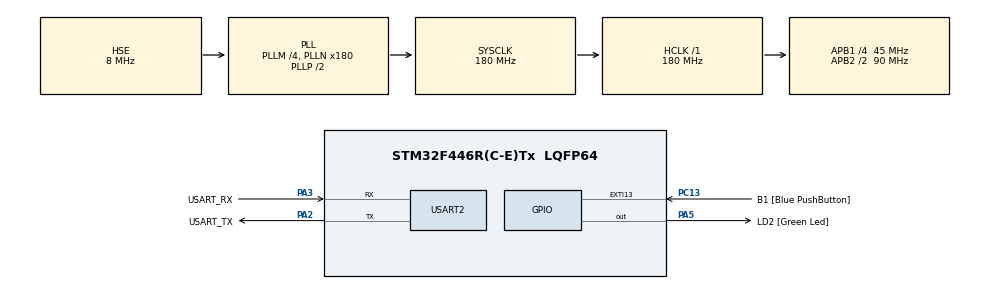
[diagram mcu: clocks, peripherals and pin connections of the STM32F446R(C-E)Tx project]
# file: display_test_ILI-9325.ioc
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Mcu.Family=STM32F4
Mcu.Name=STM32F446R(C-E)Tx
Mcu.Package=LQFP64
NVIC.PriorityGroup=NVIC_PRIORITYGROUP_0
PA13.GPIO_Label=TMS
PA13.Mode=Serial_Wire
PA13.Signal=SYS_JTMS-SWDIO
PA14.GPIO_Label=TCK
PA14.Mode=Serial_Wire
PA14.Signal=SYS_JTCK-SWCLK
PA2.GPIO_Label=USART_TX
PA2.Mode=Asynchronous
PA2.Signal=USART2_TX
PA3.GPIO_Label=USART_RX
PA3.Mode=Asynchronous
PA3.Signal=USART2_RX
PA5.GPIO_Label=LD2 [Green Led]
PA5.Signal=GPIO_Output
PB3.GPIO_Label=SWO
PB3.Signal=SYS_JTDO-SWO
PC13.GPIO_Label=B1 [Blue PushButton]
PC13.GPIO_ModeDefaultEXTI=GPIO_MODE_IT_FALLING
PC13.Signal=GPXTI13
PC14-OSC32_IN.Mode=LSE-External-Oscillator
PC14-OSC32_IN.Signal=RCC_OSC32_IN
PC15-OSC32_OUT.Mode=LSE-External-Oscillator
PC15-OSC32_OUT.Signal=RCC_OSC32_OUT
PH0-OSC_IN.Mode=HSE-External-Clock-Source
PH0-OSC_IN.Signal=RCC_OSC_IN
PH1-OSC_OUT.Mode=HSE-External-Clock-Source
PH1-OSC_OUT.Signal=RCC_OSC_OUT
ProjectManager.HeapSize=0x200
ProjectManager.StackSize=0x400
ProjectManager.TargetToolchain=SW4STM32
RCC.48MHZClocksFreq_Value=84000000
RCC.AHBFreq_Value=180000000
RCC.APB1CLKDivider=RCC_HCLK_DIV4
RCC.APB1Freq_Value=45000000
RCC.APB1TimFreq_Value=90000000
RCC.APB2CLKDivider=RCC_HCLK_DIV2
RCC.APB2Freq_Value=90000000
RCC.APB2TimFreq_Value=180000000
RCC.CortexFreq_Value=180000000
RCC.FLatency-AdvancedSettings=FLASH_LATENCY_5
RCC.HCLKFreq_Value=180000000
RCC.HSE_VALUE=8000000
RCC.HSI_VALUE=16000000
RCC.PLLM=4
RCC.PLLN=180
RCC.PLLSourceVirtual=RCC_PLLSOURCE_HSE
RCC.SYSCLKFreq_VALUE=180000000
RCC.SYSCLKSource=RCC_SYSCLKSOURCE_PLLCLK
RCC.USBFreq_Value=180000000
RCC.VCOOutputFreq_Value=360000000
USART2.VirtualMode=VM_ASYNC
board=NUCLEO-F446RE

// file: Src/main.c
/**
  ******************************************************************************
  * @file           : main.c
  * @brief          : Main program body
  ******************************************************************************
  ** This notice applies to any and all portions of this file
  * that are not between comment pairs USER CODE BEGIN and
  * USER CODE END. Other portions of this file, whether
  * inserted by the user or by software development tools
  * are owned by their respective copyright owners.
  *
  * COPYRIGHT(c) 2019 STMicroelectronics
  *
  * Redistribution and use in source and binary forms, with or without modification,
  * are permitted provided that the following conditions are met:
  *   1. Redistributions of source code must retain the above copyright notice,
  *      this list of conditions and the following disclaimer.
  *   2. Redistributions in binary form must reproduce the above copyright notice,
  *      this list of conditions and the following disclaimer in the documentation
  *      and/or other materials provided with the distribution.
  *   3. Neither the name of STMicroelectronics nor the names of its contributors
  *      may be used to endorse or promote products derived from this software
  *      without specific prior written permission.
  *
  * THIS SOFTWARE IS PROVIDED BY THE COPYRIGHT HOLDERS AND CONTRIBUTORS "AS IS"
  * AND ANY EXPRESS OR IMPLIED WARRANTIES, INCLUDING, BUT NOT LIMITED TO, THE
  * IMPLIED WARRANTIES OF MERCHANTABILITY AND FITNESS FOR A PARTICULAR PURPOSE ARE
  * DISCLAIMED. IN NO EVENT SHALL THE COPYRIGHT HOLDER OR CONTRIBUTORS BE LIABLE
  * FOR ANY DIRECT, INDIRECT, INCIDENTAL, SPECIAL, EXEMPLARY, OR CONSEQUENTIAL
  * DAMAGES (INCLUDING, BUT NOT LIMITED TO, PROCUREMENT OF SUBSTITUTE GOODS OR
  * SERVICES; LOSS OF USE, DATA, OR PROFITS; OR BUSINESS INTERRUPTION) HOWEVER
  * CAUSED AND ON ANY THEORY OF LIABILITY, WHETHER IN CONTRACT, STRICT LIABILITY,
  * OR TORT (INCLUDING NEGLIGENCE OR OTHERWISE) ARISING IN ANY WAY OUT OF THE USE
  * OF THIS SOFTWARE, EVEN IF ADVISED OF THE POSSIBILITY OF SUCH DAMAGE.
  *
  ******************************************************************************
  */
#include "main.h"
#include "stm32f4xx_hal.h"
#include "usart.h"
#include "gpio.h"

/* USER CODE BEGIN Includes */
#include "lcd.h"
/* USER CODE END Includes */

/* USER CODE BEGIN PV */
/* Private variables ---------------------------------------------------------*/

/* USER CODE END PV */

void SystemClock_Config(void);

/* USER CODE BEGIN PFP */
/* Private function prototypes -----------------------------------------------*/

/* USER CODE END PFP */

int main(void)
{

  /* MCU Configuration----------------------------------------------------------*/

  /* Reset of all peripherals, Initializes the Flash interface and the Systick. */
  HAL_Init();

  /* Configure the system clock */
  SystemClock_Config();

  /* Initialize all configured peripherals */
  MX_GPIO_Init();
  MX_USART2_UART_Init();
  /* USER CODE BEGIN 2 */

	LCD_Init();
	LCD_SetRotation(1);
	LCD_FillScreen(WHITE);
	// LCD_SetTextColor(GREEN, BLACK);
	LCD_SetTextColor(CYAN, WHITE);

	LCD_Printf("\n START\n ");
	uint32_t i = 0;

  /* USER CODE END 2 */

  /* Infinite loop */
  /* USER CODE BEGIN WHILE */
  while (1)
  {
	i++;
	LCD_Printf("%d)",i);
	//LCD_SetCursor(0, 80);
	switch(i%7)
	{
		case  7: LCD_Printf(" Sunday "); 		break;
		case  1: LCD_Printf(" Monday ");		break;
		case  2: LCD_Printf(" Tuesday "); 		break;
		case  3: LCD_Printf(" Wednesday ");		break;
		case  4: LCD_Printf(" Thursday ");		break;
		case  5: LCD_Printf(" Friday ");		break;
		case  6: LCD_Printf(" Saturday ");		break;
		default: LCD_Printf(" Out of day ");	break;
	} // end switch

	LCD_Printf("\n ");
	HAL_Delay(1000);
	HAL_GPIO_TogglePin(LD2_GPIO_Port, LD2_Pin);
	//LCD_Printf("\n End\n");

  /* USER CODE END WHILE */

  }

}

void SystemClock_Config(void)
{

  RCC_OscInitTypeDef RCC_OscInitStruct;
  RCC_ClkInitTypeDef RCC_ClkInitStruct;

    /**Configure the main internal regulator output voltage
    */
  __HAL_RCC_PWR_CLK_ENABLE();

  __HAL_PWR_VOLTAGESCALING_CONFIG(PWR_REGULATOR_VOLTAGE_SCALE1);

    /**Initializes the CPU, AHB and APB busses clocks
    */
  RCC_OscInitStruct.OscillatorType = RCC_OSCILLATORTYPE_HSE;
  RCC_OscInitStruct.HSEState = RCC_HSE_BYPASS;
  RCC_OscInitStruct.PLL.PLLState = RCC_PLL_ON;
  RCC_OscInitStruct.PLL.PLLSource = RCC_PLLSOURCE_HSE;
  RCC_OscInitStruct.PLL.PLLM = 4;
  RCC_OscInitStruct.PLL.PLLN = 180;
  RCC_OscInitStruct.PLL.PLLP = RCC_PLLP_DIV2;
  RCC_OscInitStruct.PLL.PLLQ = 2;
  RCC_OscInitStruct.PLL.PLLR = 2;
  if (HAL_RCC_OscConfig(&RCC_OscInitStruct) != HAL_OK)
  {
    _Error_Handler(__FILE__, __LINE__);
  }

    /**Activate the Over-Drive mode
    */
  if (HAL_PWREx_EnableOverDrive() != HAL_OK)
  {
    _Error_Handler(__FILE__, __LINE__);
  }

    /**Initializes the CPU, AHB and APB busses clocks
    */
  RCC_ClkInitStruct.ClockType = RCC_CLOCKTYPE_HCLK|RCC_CLOCKTYPE_SYSCLK
                              |RCC_CLOCKTYPE_PCLK1|RCC_CLOCKTYPE_PCLK2;
  RCC_ClkInitStruct.SYSCLKSource = RCC_SYSCLKSOURCE_PLLCLK;
  RCC_ClkInitStruct.AHBCLKDivider = RCC_SYSCLK_DIV1;
  RCC_ClkInitStruct.APB1CLKDivider = RCC_HCLK_DIV4;
  RCC_ClkInitStruct.APB2CLKDivider = RCC_HCLK_DIV2;

  if (HAL_RCC_ClockConfig(&RCC_ClkInitStruct, FLASH_LATENCY_5) != HAL_OK)
  {
    _Error_Handler(__FILE__, __LINE__);
  }

    /**Configure the Systick interrupt time
    */
  HAL_SYSTICK_Config(HAL_RCC_GetHCLKFreq()/1000);

    /**Configure the Systick
    */
  HAL_SYSTICK_CLKSourceConfig(SYSTICK_CLKSOURCE_HCLK);

  /* SysTick_IRQn interrupt configuration */
  HAL_NVIC_SetPriority(SysTick_IRQn, 0, 0);
}

void _Error_Handler(char *file, int line)
{
  while(1)
  {
  }
}

/************************ (C) COPYRIGHT STMicroelectronics *****END OF FILE****/
